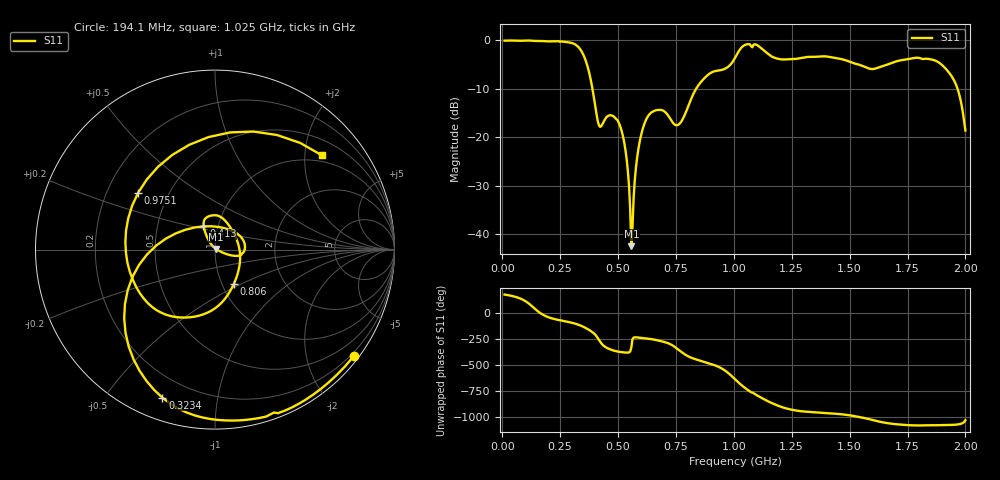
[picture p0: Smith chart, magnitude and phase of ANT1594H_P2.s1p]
!Created with skrf (http://scikit-rf.org).
# Hz S RI R 50.0
!freq ReS11 ImS11
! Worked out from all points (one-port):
!   401 points, 10 MHz to 2 GHz, reference 50 ohm
!   lowest |S11| = -42.5 dB at 557.2 MHz (marker M1), VSWR 1.02, Z = 50.7 + j0.342 ohm
!   |S11| at or under -10 dB: 389.3 MHz to 837.2 MHz (447.9 MHz wide, 73 % of centre); 1.966 GHz to end of sweep
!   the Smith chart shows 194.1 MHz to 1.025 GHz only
!   S11 on the Smith chart (normalised r, x): 194.1 MHz: 0.12, -2.93; 323.4 MHz: 0.10, -0.70; 413 MHz: 0.85, +0.23; 806 MHz: 1.14, -0.45; 975.1 MHz: 0.33, +0.30; 1.025 GHz: 0.84, +2.39
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1e7  -0.9884 0.0676
7.4675e7  -0.7644 0.6263
1.1945e8  0.1569 0.9801
1.54275e8  0.9541 0.2411
1.94075e8  0.7723 -0.5943
2.5875e8  0.2477 -0.9381
3.23425e8  -0.2933 -0.8248
3.63225e8  -0.5019 -0.3041
4.12975e8  -0.0642 0.1293
5.075e8  0.1284 -0.0346
5.32375e8  0.0675 -0.0261
5.5725e8  0.00671 0.00337
5.871e8  -0.0404 0.0618
6.21925e8  -0.0635 0.1396
7.5625e8  0.1294 0.0312
8.06e8  0.1058 -0.1898
9.055e8  -0.3245 -0.3381
9.7515e8  -0.4276 0.3177
1.005e9  0.085 0.653
1.0249e9  0.5953 0.5256
1.05475e9  0.8864 -0.1883
1.1045e9  0.1837 -0.8592
1.1642e9  -0.5689 -0.3703
1.25375e9  -0.5407 0.3392
1.5025e9  -0.0516 0.5939
1.75125e9  0.6387 0.0166
1.9204e9  0.4921 0.0172
2e9  0.0775 0.0881
